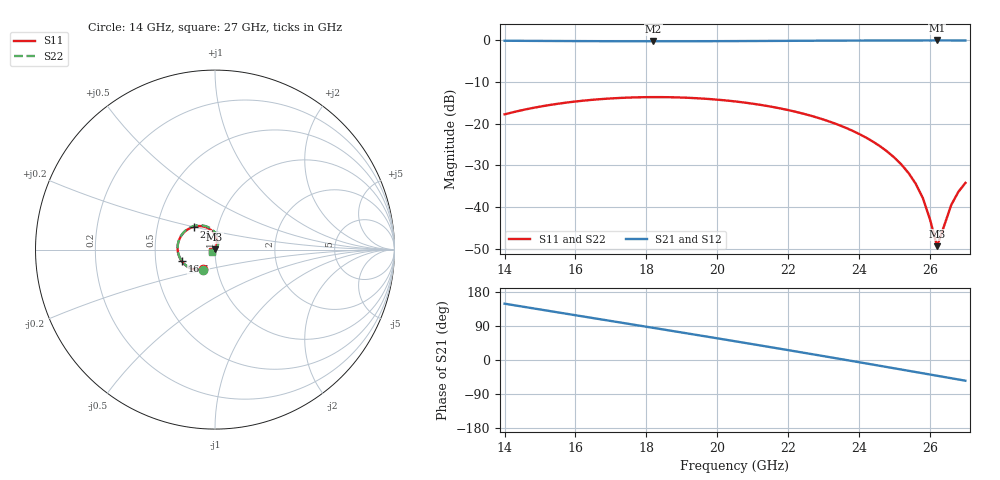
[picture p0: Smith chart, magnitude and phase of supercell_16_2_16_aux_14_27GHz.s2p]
! Touchstone file exported from HFSS 2026.1.0
!  File:  C:/Users/urbaneja/Ansys/16-2-16_super_cell.aedt
!  Generated:  01:34:07 PM Aug 12, 2026
!  Design:  HFSSDesign_Supercell_16_2_16_Test
!  Project:  16-2-16_super_cell
!  Setup:  Setup1
!  Solution:  Sweep_16_2_16_aux
! Variables:
!  stub_length = 12um
# GHz S MA R 50.000000
! Terminal data exported
! Port[1] = Port1
! Port[2] = Port2
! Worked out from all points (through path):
!   66 points, 14 GHz to 27 GHz, reference 50 ohm
!   highest |S21| = 0.00 dB at 26.2 GHz (marker M1); lowest = -0.2 dB at 18.2 GHz (marker M2)
!   group delay of S21, straight-line fit = 43.3 ps
!   lowest |S11| = -49.4 dB at 26.2 GHz (marker M3), VSWR 1.01, Z = 49.8 + j0.258 ohm
!   |S11| at or under -10 dB: start of sweep to end of sweep
!   |S22| runs from -49.4 to -13.6 dB; largest |S21 - S12| = 0.00044
!   S11 on the Smith chart (normalised r, x): 14 GHz: 0.85, -0.19; 16.6 GHz: 0.68, -0.09; 21 GHz: 0.76, +0.20; 27 GHz: 0.97, -0.02
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14  0.1296 -121.6  0.9916 148.6  0.9916 148.6  0.1296 -121.2
! Gamma 0 11856.4730213998 0 11974.0168592417
! Port Impedance 50 0 50 0
15.2  0.1661 -139.6  0.9861 130.3  0.9861 130.3  0.1661 -139.8
16.2  0.189 -154.6  0.982 115.1  0.982 115.1  0.189 -155.2
16.6  0.1959 -160.6  0.9806 109.0  0.9806 109.0  0.1959 -161.3
17.4  0.2054 -172.6  0.9787 96.9  0.9787 96.9  0.2054 -173.6
18.2  0.2089 175.4  0.9779 84.7  0.9779 84.7  0.2089 174.1
18.4  0.2089 172.4  0.9779 81.7  0.9779 81.7  0.2089 171.0
19.4  0.2028 157.3  0.9792 66.4  0.9792 66.4  0.2028 155.6
20.6  0.1834 139.1  0.983 48.0  0.983 48.0  0.1834 136.8
21  0.1742 133.0  0.9847 41.7  0.9847 41.7  0.1742 130.5
22  0.146 117.7  0.9893 26.1  0.9893 26.1  0.146 114.5
22.8  0.1194 105.4  0.993 13.4  0.9927 13.4  0.1194 101.3
24  0.07556 87.2  0.9971 -5.8  0.9971 -5.8  0.07556 81.1
25  0.03916 73.6  0.9992 -22.0  0.9992 -22.0  0.03916 62.4
25.4  0.02551 69.8  0.9997 -28.5  0.9997 -28.5  0.02551 53.2
25.6  0.01902 69.1  0.9998 -31.8  0.9998 -31.8  0.01902 47.3
25.8  0.01284 70.9  0.9999 -35.0  0.9999 -35.0  0.01284 39.0
26  0.007155 80.5  1 -38.3  1 -38.3  0.007155 22.9
26.2  0.003395 130.2  1 -41.6  1 -41.6  0.003395 -33.3
26.6  0.0106 -155.6  0.9999 -48.1  0.9999 -48.1  0.0106 -120.6
26.8  0.0152 -153.1  0.9999 -51.4  0.9999 -51.4  0.0152 -129.6
27  0.01949 -153.5  0.9998 -54.6  0.9998 -54.6  0.01949 -135.8
